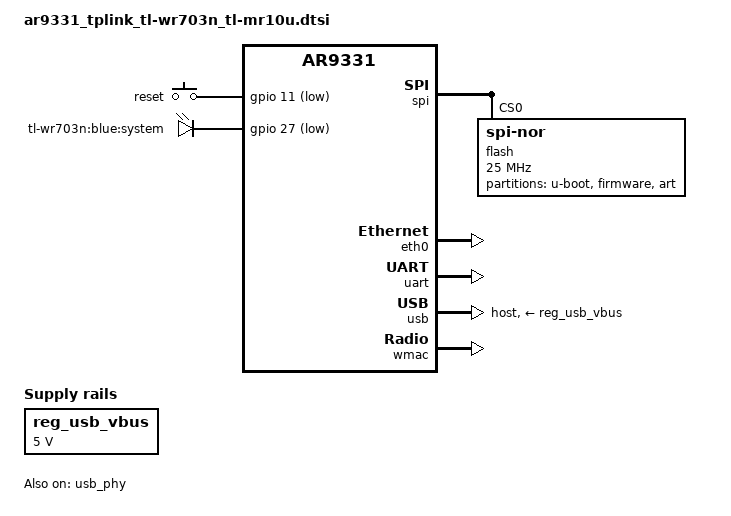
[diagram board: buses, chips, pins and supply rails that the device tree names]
// SPDX-License-Identifier: GPL-2.0-or-later OR MIT

#include <dt-bindings/gpio/gpio.h>
#include <dt-bindings/input/input.h>

#include "ar9331.dtsi"

/ {
	aliases {
		serial0 = &uart;
		led-boot = &led_system;
		led-failsafe = &led_system;
		led-running = &led_system;
		led-upgrade = &led_system;
		label-mac-device = &eth0;
	};

	keys {
		compatible = "gpio-keys";

		reset {
			label = "reset";
			linux,code = <KEY_RESTART>;
			gpios = <&gpio 11 GPIO_ACTIVE_LOW>;
			debounce-interval = <60>;
		};
	};

	leds {
		compatible = "gpio-leds";

		led_system: system {
			label = "tl-wr703n:blue:system";
			gpios = <&gpio 27 GPIO_ACTIVE_LOW>;
		};
	};

	reg_usb_vbus: reg_usb_vbus {
		compatible = "regulator-fixed";
		regulator-name = "usb_vbus";
		regulator-min-microvolt = <5000000>;
		regulator-max-microvolt = <5000000>;
		enable-active-high;
	};
};

&spi {
	status = "okay";

	num-cs = <1>;

	flash@0 {
		compatible = "jedec,spi-nor";
		reg = <0>;
		spi-max-frequency = <25000000>;

		partitions {
			compatible = "fixed-partitions";
			#address-cells = <1>;
			#size-cells = <1>;

			uboot: partition@0 {
				reg = <0x0 0x20000>;
				label = "u-boot";
				read-only;
			};

			partition@20000 {
				compatible = "tplink,firmware";
				reg = <0x20000 0x3d0000>;
				label = "firmware";
			};

			art: partition@3f0000 {
				reg = <0x3f0000 0x10000>;
				label = "art";
				read-only;
			};
		};
	};
};

&eth0 {
	status = "okay";

	mtd-mac-address = <&uboot 0x1fc00>;

	gmac-config {
		device = <&gmac>;

		switch-phy-addr-swap = <0>;
		switch-phy-swap = <0>;
	};
};

&eth1 {
	status = "okay";

	compatible = "syscon", "simple-mfd";
};

&uart {
	status = "okay";
};

&usb {
	dr_mode = "host";
	vbus-supply = <&reg_usb_vbus>;
	status = "okay";
};

&usb_phy {
	status = "okay";
};

&wmac {
	status = "okay";

	mtd-cal-data = <&art 0x1000>;
	mtd-mac-address = <&uboot 0x1fc00>;
};
